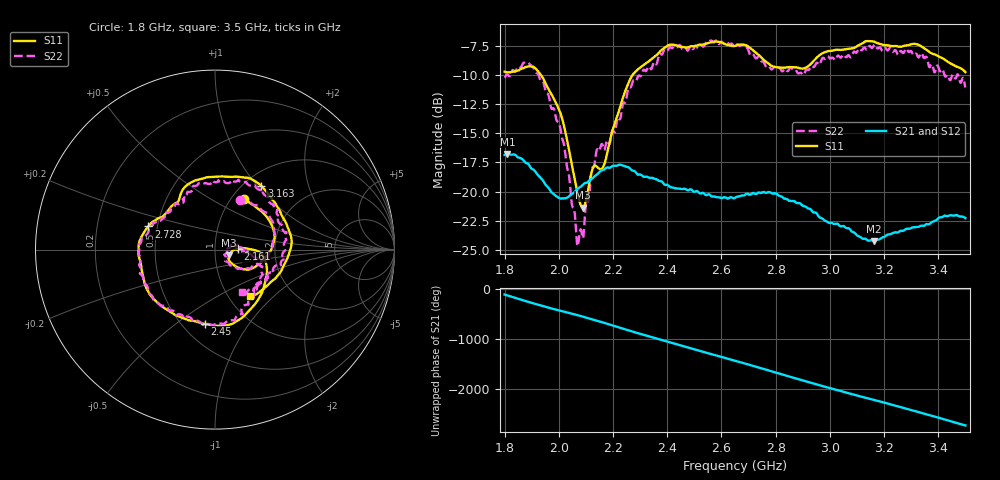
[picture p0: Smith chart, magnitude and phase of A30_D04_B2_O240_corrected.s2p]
! Created with skrf 1.9.0 (http://scikit-rf.org).
# Hz S RI R 50.0
!freq ReS11 ImS11 ReS21 ImS21 ReS12 ImS12 ReS22 ImS22
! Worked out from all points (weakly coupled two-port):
!   1601 points, 1.8 GHz to 3.5 GHz, reference 50 ohm
!   highest |S21| = -16.77 dB at 1.811 GHz (marker M1); lowest = -24.2 dB at 3.162 GHz (marker M2)
!   lowest |S11| = -21.4 dB at 2.089 GHz (marker M3), VSWR 1.19, Z = 58.5 - j3.78 ohm
!   |S11| at or under -10 dB: 1.934 GHz to 2.272 GHz (338.2 MHz wide, 16.1 % of centre)
!   |S22| runs from -24.7 to -7.0 dB; largest |S21 - S12| = 0.0023
!   S11 on the Smith chart (normalised r, x): 1.8 GHz: 1.14, +0.73; 2.161 GHz: 1.29, +0.01; 2.45 GHz: 0.64, -0.64; 2.728 GHz: 0.45, +0.14; 3.163 GHz: 1.19, +1.05; 3.5 GHz: 1.25, -0.73
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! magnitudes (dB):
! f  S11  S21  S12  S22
! 1.8 GHz  -9.7  -16.9  -16.9  -10.2
! 1.811 GHz  -9.8  -16.8  -16.8  -9.9
! 1.883 GHz  -9.3  -17.6  -17.6  -9.0
! 1.942 GHz  -10.3  -19.1  -19.1  -10.6
! 2.01 GHz  -13.6  -20.6  -20.6  -15.3
! 2.067 GHz  -19.9  -19.8  -19.8  -24.3
! 2.084 GHz  -21.3  -19.5  -19.5  -23.4
! 2.089 GHz  -21.4  -19.4  -19.4  -24.0
! 2.128 GHz  -17.9  -18.8  -18.8  -17.9
! 2.161 GHz  -18.0  -18.1  -18.1  -16.0
! 2.263 GHz  -10.4  -18.0  -18.0  -11.1
! 2.367 GHz  -8.1  -19.1  -19.0  -8.5
! 2.45 GHz  -7.6  -19.8  -19.8  -7.6
! 2.65 GHz  -7.5  -20.5  -20.5  -7.6
! 2.728 GHz  -8.1  -20.2  -20.2  -8.6
! 2.799 GHz  -9.3  -20.1  -20.1  -9.3
! 2.934 GHz  -9.0  -21.7  -21.6  -9.2
! 3.162 GHz  -7.1  -24.2  -24.2  -7.5
! 3.163 GHz  -7.1  -24.2  -24.2  -7.4
! 3.217 GHz  -7.5  -23.7  -23.6  -7.8
! 3.324 GHz  -7.4  -23.0  -23.0  -8.4
! 3.5 GHz  -9.8  -22.3  -22.2  -11.1
